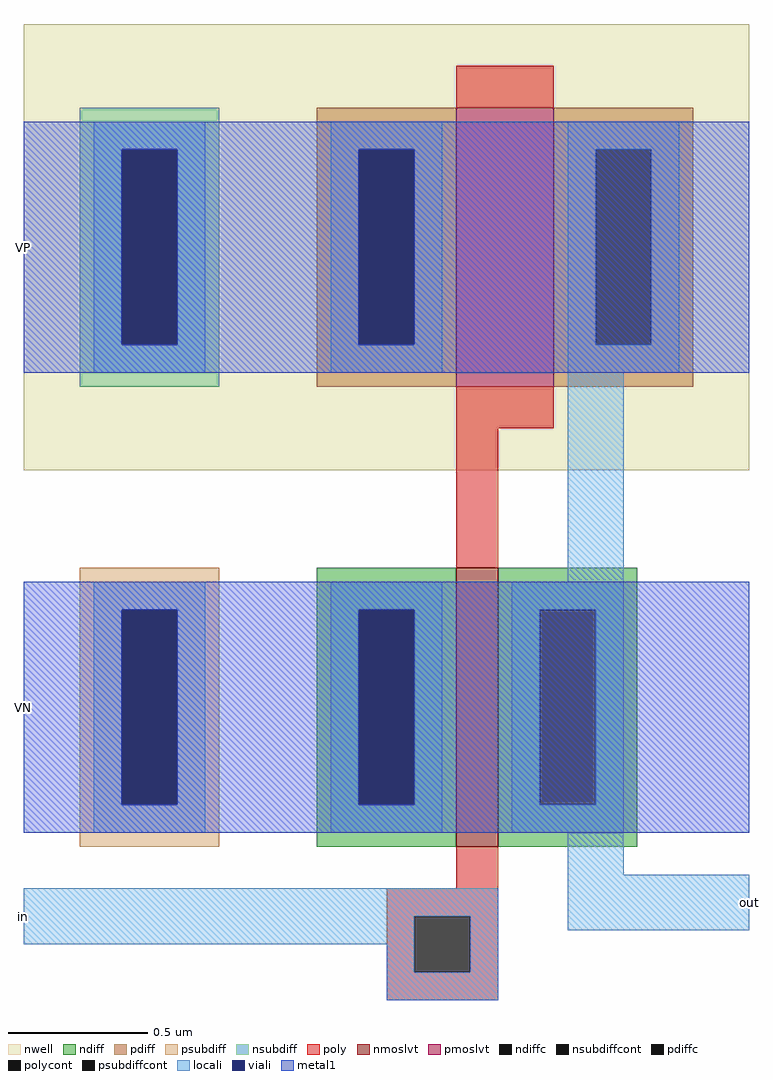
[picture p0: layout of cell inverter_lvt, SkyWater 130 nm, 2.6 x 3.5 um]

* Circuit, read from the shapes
.subckt inverter_lvt in out VP VN
XM1 out in VN VN sky130_fd_pr__nfet_01v8_lvt w=1 l=0.15
XM2 out in VP VP sky130_fd_pr__pfet_01v8_lvt w=1 l=0.35
.ends

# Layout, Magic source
magic
tech sky130A
<< nwell >>
rect -185 110 75 270
<< pmoslvt >>
rect -30 140 5 240
<< nmoslvt >>
rect -30 -25 -15 75
<< ndiff >>
rect -80 60 -30 75
rect -80 -10 -65 60
rect -45 -10 -30 60
rect -80 -25 -30 -10
rect -15 60 35 75
rect -15 -10 0 60
rect 20 -10 35 60
rect -15 -25 35 -10
<< pdiff >>
rect -80 225 -30 240
rect -80 155 -65 225
rect -45 155 -30 225
rect -80 140 -30 155
rect 5 225 55 240
rect 5 155 20 225
rect 40 155 55 225
rect 5 140 55 155
<< ndiffc >>
rect -65 -10 -45 60
rect 0 -10 20 60
<< pdiffc >>
rect -65 155 -45 225
rect 20 155 40 225
<< psubdiff >>
rect -165 60 -115 75
rect -165 -10 -150 60
rect -130 -10 -115 60
rect -165 -25 -115 -10
<< nsubdiff >>
rect -165 225 -115 240
rect -165 155 -150 225
rect -130 155 -115 225
rect -165 140 -115 155
<< psubdiffcont >>
rect -150 -10 -130 60
<< nsubdiffcont >>
rect -150 155 -130 225
<< poly >>
rect -30 240 5 255
rect -30 125 5 140
rect -30 75 -15 125
rect -30 -40 -15 -25
rect -55 -50 -15 -40
rect -55 -70 -45 -50
rect -25 -70 -15 -50
rect -55 -80 -15 -70
<< polycont >>
rect -45 -70 -25 -50
<< locali >>
rect -160 225 -120 235
rect -160 155 -150 225
rect -130 155 -120 225
rect -160 145 -120 155
rect -75 225 -35 235
rect -75 155 -65 225
rect -45 155 -35 225
rect -75 145 -35 155
rect 10 225 50 235
rect 10 155 20 225
rect 40 155 50 225
rect 10 145 50 155
rect 10 70 30 145
rect -160 60 -120 70
rect -160 -10 -150 60
rect -130 -10 -120 60
rect -160 -20 -120 -10
rect -75 60 -35 70
rect -75 -10 -65 60
rect -45 -10 -35 60
rect -75 -20 -35 -10
rect -10 60 30 70
rect -10 -10 0 60
rect 20 -10 30 60
rect -10 -20 30 -10
rect 10 -35 30 -20
rect -185 -50 -15 -40
rect -185 -60 -45 -50
rect -55 -70 -45 -60
rect -25 -70 -15 -50
rect 10 -55 75 -35
rect -55 -80 -15 -70
<< viali >>
rect -150 155 -130 225
rect -65 155 -45 225
rect -150 -10 -130 60
rect -65 -10 -45 60
<< metal1 >>
rect -185 225 75 235
rect -185 155 -150 225
rect -130 155 -65 225
rect -45 155 75 225
rect -185 145 75 155
rect -185 60 75 70
rect -185 -10 -150 60
rect -130 -10 -65 60
rect -45 -10 75 60
rect -185 -20 75 -10
<< labels >>
rlabel locali -185 -50 -185 -50 7 in
port 1 w
rlabel locali 75 -45 75 -45 3 out
port 2 e
rlabel metal1 -185 190 -185 190 7 VP
port 3 w
rlabel metal1 -185 25 -185 25 7 VN
port 4 w
<< end >>
